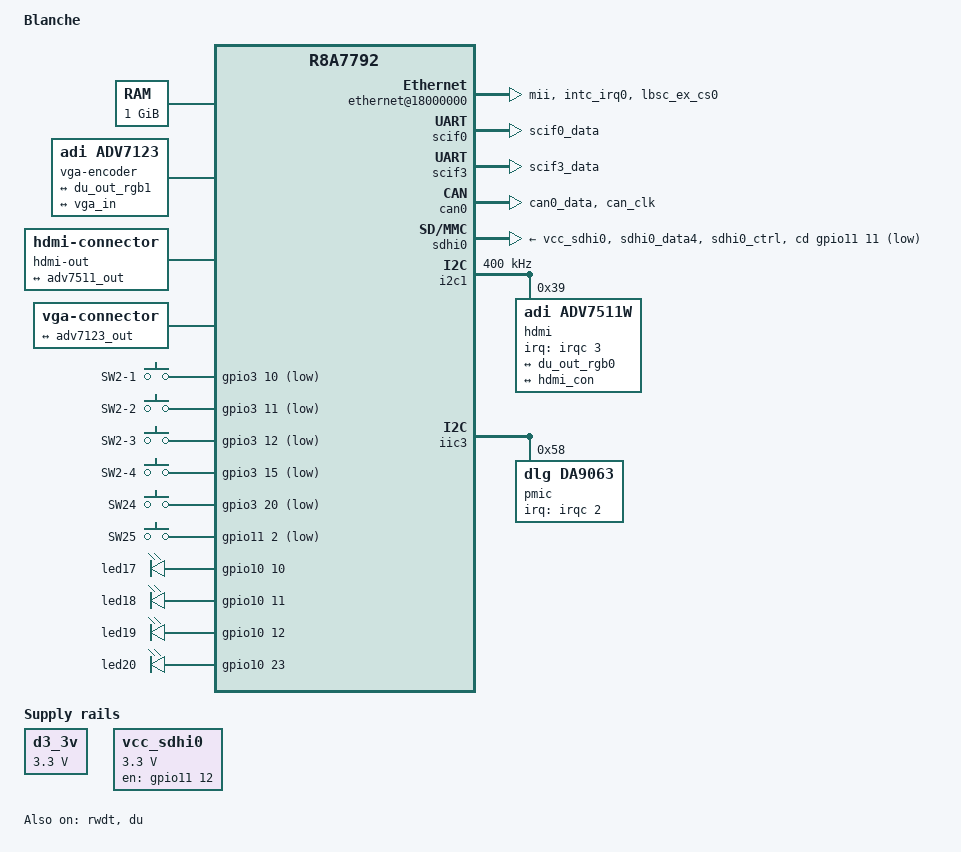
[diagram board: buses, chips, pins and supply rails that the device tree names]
// SPDX-License-Identifier: GPL-2.0
/*
 * Device Tree Source for the Blanche board
 *
 * Copyright (C) 2014 Renesas Electronics Corporation
 * Copyright (C) 2016 Cogent  Embedded, Inc.
 */

/dts-v1/;
#include "r8a7792.dtsi"
#include <dt-bindings/gpio/gpio.h>
#include <dt-bindings/input/input.h>

/ {
	model = "Blanche";
	compatible = "renesas,blanche", "renesas,r8a7792";

	aliases {
		serial0 = &scif0;
		serial1 = &scif3;
	};

	chosen {
		bootargs = "ignore_loglevel rw root=/dev/nfs ip=dhcp";
		stdout-path = "serial0:115200n8";
	};

	memory@40000000 {
		device_type = "memory";
		reg = <0 0x40000000 0 0x40000000>;
	};

	d3_3v: regulator-3v3 {
		compatible = "regulator-fixed";
		regulator-name = "D3.3V";
		regulator-min-microvolt = <3300000>;
		regulator-max-microvolt = <3300000>;
		regulator-boot-on;
		regulator-always-on;
	};

	ethernet@18000000 {
		compatible = "smsc,lan89218", "smsc,lan9115";
		reg = <0 0x18000000 0 0x100>;
		phy-mode = "mii";
		interrupt-parent = <&irqc>;
		interrupts = <0 IRQ_TYPE_EDGE_FALLING>;
		smsc,irq-push-pull;
		reg-io-width = <4>;
		vddvario-supply = <&d3_3v>;
		vdd33a-supply = <&d3_3v>;

		pinctrl-0 = <&lan89218_pins>;
		pinctrl-names = "default";
	};

	vga-encoder {
		compatible = "adi,adv7123";

		ports {
			#address-cells = <1>;
			#size-cells = <0>;

			port@0 {
				reg = <0>;
				adv7123_in: endpoint {
					remote-endpoint = <&du_out_rgb1>;
				};
			};
			port@1 {
				reg = <1>;
				adv7123_out: endpoint {
					remote-endpoint = <&vga_in>;
				};
			};
		};
	};

	hdmi-out {
		compatible = "hdmi-connector";
		type = "a";

		port {
			hdmi_con: endpoint {
				remote-endpoint = <&adv7511_out>;
			};
		};
	};

	vga {
		compatible = "vga-connector";

		port {
			vga_in: endpoint {
				remote-endpoint = <&adv7123_out>;
			};
		};
	};

	x1_clk: x1 {
		compatible = "fixed-clock";
		#clock-cells = <0>;
		clock-frequency = <74250000>;
	};

	x2_clk: x2 {
		compatible = "fixed-clock";
		#clock-cells = <0>;
		clock-frequency = <65000000>;
	};

	keyboard {
		compatible = "gpio-keys";

		key-1 {
			linux,code = <KEY_1>;
			label = "SW2-1";
			wakeup-source;
			debounce-interval = <20>;
			gpios = <&gpio3 10 GPIO_ACTIVE_LOW>;
		};
		key-2 {
			linux,code = <KEY_2>;
			label = "SW2-2";
			wakeup-source;
			debounce-interval = <20>;
			gpios = <&gpio3 11 GPIO_ACTIVE_LOW>;
		};
		key-3 {
			linux,code = <KEY_3>;
			label = "SW2-3";
			wakeup-source;
			debounce-interval = <20>;
			gpios = <&gpio3 12 GPIO_ACTIVE_LOW>;
		};
		key-4 {
			linux,code = <KEY_4>;
			label = "SW2-4";
			wakeup-source;
			debounce-interval = <20>;
			gpios = <&gpio3 15 GPIO_ACTIVE_LOW>;
		};
		key-a {
			linux,code = <KEY_A>;
			label = "SW24";
			wakeup-source;
			debounce-interval = <20>;
			gpios = <&gpio3 20 GPIO_ACTIVE_LOW>;
		};
		key-b {
			linux,code = <KEY_B>;
			label = "SW25";
			wakeup-source;
			debounce-interval = <20>;
			gpios = <&gpio11 2 GPIO_ACTIVE_LOW>;
		};
	};

	leds {
		compatible = "gpio-leds";

		led17 {
			gpios = <&gpio10 10 GPIO_ACTIVE_HIGH>;
		};
		led18 {
			gpios = <&gpio10 11 GPIO_ACTIVE_HIGH>;
		};
		led19 {
			gpios = <&gpio10 12 GPIO_ACTIVE_HIGH>;
		};
		led20 {
			gpios = <&gpio10 23 GPIO_ACTIVE_HIGH>;
		};
	};

	vcc_sdhi0: regulator-vcc-sdhi0 {
		compatible = "regulator-fixed";

		regulator-name = "SDHI0 Vcc";
		regulator-min-microvolt = <3300000>;
		regulator-max-microvolt = <3300000>;

		gpio = <&gpio11 12 GPIO_ACTIVE_HIGH>;
		enable-active-high;
	};
};

&extal_clk {
	clock-frequency = <20000000>;
};

&can_clk {
	clock-frequency = <48000000>;
};

&pfc {
	scif0_pins: scif0 {
		groups = "scif0_data";
		function = "scif0";
	};

	scif3_pins: scif3 {
		groups = "scif3_data";
		function = "scif3";
	};

	lan89218_pins: lan89218 {
		intc {
			groups = "intc_irq0";
			function = "intc";
		};
		lbsc {
			groups = "lbsc_ex_cs0";
			function = "lbsc";
		};
	};

	can0_pins: can0 {
		groups = "can0_data", "can_clk";
		function = "can0";
	};

	sdhi0_pins: sdhi0 {
		groups = "sdhi0_data4", "sdhi0_ctrl";
		function = "sdhi0";
	};

	du0_pins: du0 {
		groups = "du0_rgb888", "du0_sync", "du0_disp";
		function = "du0";
	};

	du1_pins: du1 {
		groups = "du1_rgb666", "du1_sync", "du1_disp";
		function = "du1";
	};
};

&rwdt {
	timeout-sec = <60>;
	status = "okay";
};

&scif0 {
	pinctrl-0 = <&scif0_pins>;
	pinctrl-names = "default";

	status = "okay";
};

&scif3 {
	pinctrl-0 = <&scif3_pins>;
	pinctrl-names = "default";

	status = "okay";
};

&can0 {
	pinctrl-0 = <&can0_pins>;
	pinctrl-names = "default";

	status = "okay";
};

&sdhi0 {
	pinctrl-0 = <&sdhi0_pins>;
	pinctrl-names = "default";

	vmmc-supply = <&vcc_sdhi0>;
	cd-gpios = <&gpio11 11 GPIO_ACTIVE_LOW>;
	status = "okay";
};

&i2c1 {
	status = "okay";
	clock-frequency = <400000>;

	hdmi@39 {
		compatible = "adi,adv7511w";
		reg = <0x39>;
		interrupt-parent = <&irqc>;
		interrupts = <3 IRQ_TYPE_EDGE_FALLING>;

		adi,input-depth = <8>;
		adi,input-colorspace = "rgb";
		adi,input-clock = "1x";
		adi,input-style = <1>;
		adi,input-justification = "evenly";

		ports {
			#address-cells = <1>;
			#size-cells = <0>;

			port@0 {
				reg = <0>;
				adv7511_in: endpoint {
					remote-endpoint = <&du_out_rgb0>;
				};
			};

			port@1 {
				reg = <1>;
				adv7511_out: endpoint {
					remote-endpoint = <&hdmi_con>;
				};
			};
		};
	};
};

&iic3 {
	status = "okay";

	pmic@58 {
		compatible = "dlg,da9063";
		reg = <0x58>;
		interrupt-parent = <&irqc>;
		interrupts = <2 IRQ_TYPE_LEVEL_LOW>;
		interrupt-controller;

		rtc {
			compatible = "dlg,da9063-rtc";
		};

		wdt {
			compatible = "dlg,da9063-watchdog";
		};
	};
};

&du {
	pinctrl-0 = <&du0_pins &du1_pins>;
	pinctrl-names = "default";

	clocks = <&cpg CPG_MOD 724>, <&cpg CPG_MOD 723>, <&x1_clk>, <&x2_clk>;
	clock-names = "du.0", "du.1", "dclkin.0", "dclkin.1";
	status = "okay";

	ports {
		port@0 {
			endpoint {
				remote-endpoint = <&adv7511_in>;
			};
		};
		port@1 {
			endpoint {
				remote-endpoint = <&adv7123_in>;
			};
		};
	};
};
